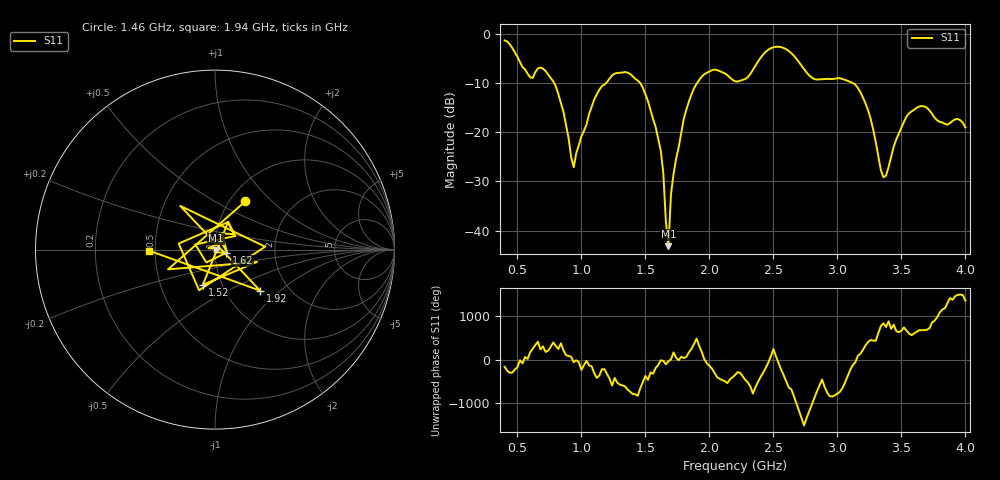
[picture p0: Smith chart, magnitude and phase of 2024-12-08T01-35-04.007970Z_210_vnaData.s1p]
!Created with skrf (http://scikit-rf.org).
# Hz S RI R 50.0
!freq ReS11 ImS11
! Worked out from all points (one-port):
!   181 points, 400 MHz to 4 GHz, reference 50 ohm
!   lowest |S11| = -43.2 dB at 1.68 GHz (marker M1), VSWR 1.01, Z = 50.6 - j0.416 ohm
!   |S11| at or under -10 dB: 787.2 MHz to 1.192 GHz (404.9 MHz wide, 40.9 % of centre); 1.46 GHz to 1.904 GHz (443.5 MHz wide, 26.4 % of centre); 3.121 GHz to end of sweep
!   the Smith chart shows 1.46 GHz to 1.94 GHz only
!   S11 on the Smith chart (normalised r, x): 1.46 GHz: 1.18, +0.70; 1.52 GHz: 0.81, -0.33; 1.62 GHz: 1.13, -0.04; 1.92 GHz: 1.44, -0.75; 1.94 GHz: 0.46, -0.01
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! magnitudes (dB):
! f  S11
! 400 MHz  -1.3
! 600 MHz  -8.8
! 720 MHz  -7.5
! 860 MHz  -15.9
! 940 MHz  -27.1
! 1.1 GHz  -13.3
! 1.3 GHz  -7.9
! 1.46 GHz  -10.0
! 1.52 GHz  -13.7
! 1.62 GHz  -23.7
! 1.64 GHz  -28.4
! 1.66 GHz  -38.2
! 1.68 GHz  -43.2
! 1.7 GHz  -32.6
! 1.76 GHz  -23.0
! 1.82 GHz  -15.4
! 1.92 GHz  -9.4
! 1.94 GHz  -8.7
! 2.2 GHz  -9.6
! 2.48 GHz  -2.9
! 2.66 GHz  -4.4
! 2.82 GHz  -9.2
! 3.1 GHz  -9.7
! 3.24 GHz  -15.6
! 3.36 GHz  -29.2
! 3.56 GHz  -16.1
! 3.68 GHz  -14.8
! 4 GHz  -19.0
